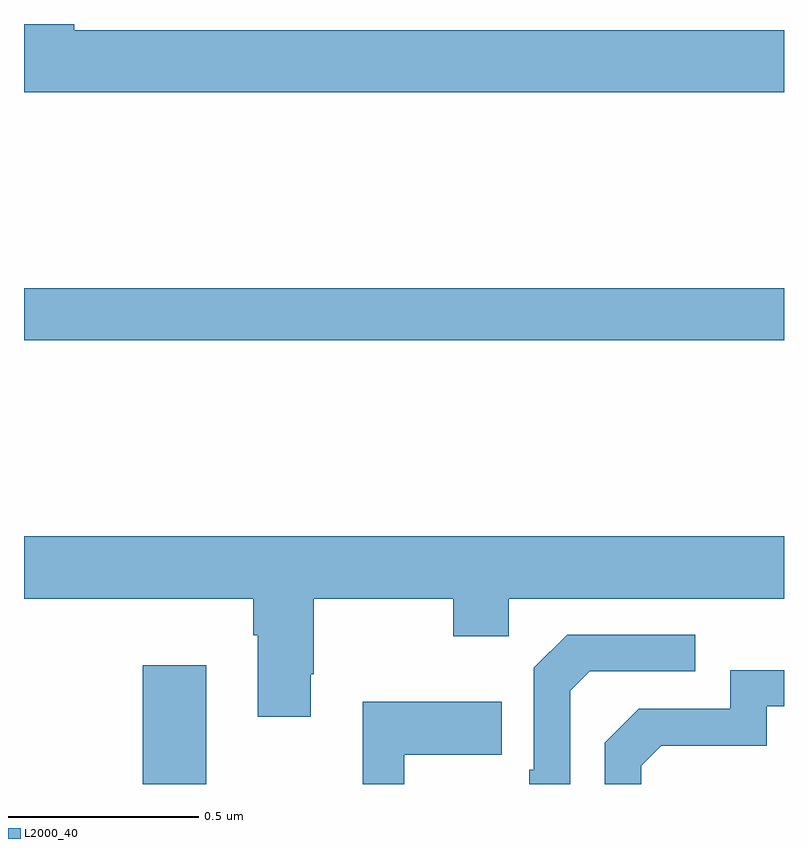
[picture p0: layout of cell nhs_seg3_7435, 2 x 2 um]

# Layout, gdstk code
import gdstk
lib = gdstk.Library(unit=1e-6, precision=1e-09)
def R(c, l, rs):  # rectangles x0, y0, x1, y1
    for r in rs: c.add(gdstk.rectangle(r[:2], r[2:], *l))
def P(c, l, *ps):  # polygons
    for p in ps: c.add(gdstk.Polygon(p, *l))
L2000_40 = (2000, 40)

nhs_seg3_7435 = lib.new_cell('nhs_seg3_7435')
R(nhs_seg3_7435, L2000_40, [(203.312,728.4,203.479,728.713), (203,729.568,205,729.704)])
P(nhs_seg3_7435, L2000_40, [(205,730.384),(203.132,730.384),(203.132,730.4),(203,730.4),(203,730.22),(205,730.22)],
  [(203.755,728.689),(203.763,728.689),(203.763,728.888),(204.13,728.888),(204.13,728.789),(204.276,728.789),(204.276,728.888),(205,728.888),(205,729.052),(203,729.052),(203,728.888),(203.603,728.888),(203.603,728.792),(203.615,728.792),(203.615,728.577),(203.755,728.577)],
  [(204.438,728.646),(204.489,728.697),(204.766,728.697),(204.766,728.793),(204.429,728.793),(204.342,728.706),(204.342,728.437),(204.33,728.437),(204.33,728.4),(204.438,728.4)],
  [(204.624,728.448),(204.677,728.501),(204.954,728.501),(204.954,728.604),(205,728.604),(205,728.7),(204.858,728.7),(204.858,728.598),(204.618,728.598),(204.528,728.508),(204.528,728.4),(204.624,728.4)],
  [(204.001,728.477),(204.257,728.477),(204.257,728.617),(203.891,728.617),(203.891,728.4),(204.001,728.4)])

lib.write_gds('nhs_seg3_7435.gds')
